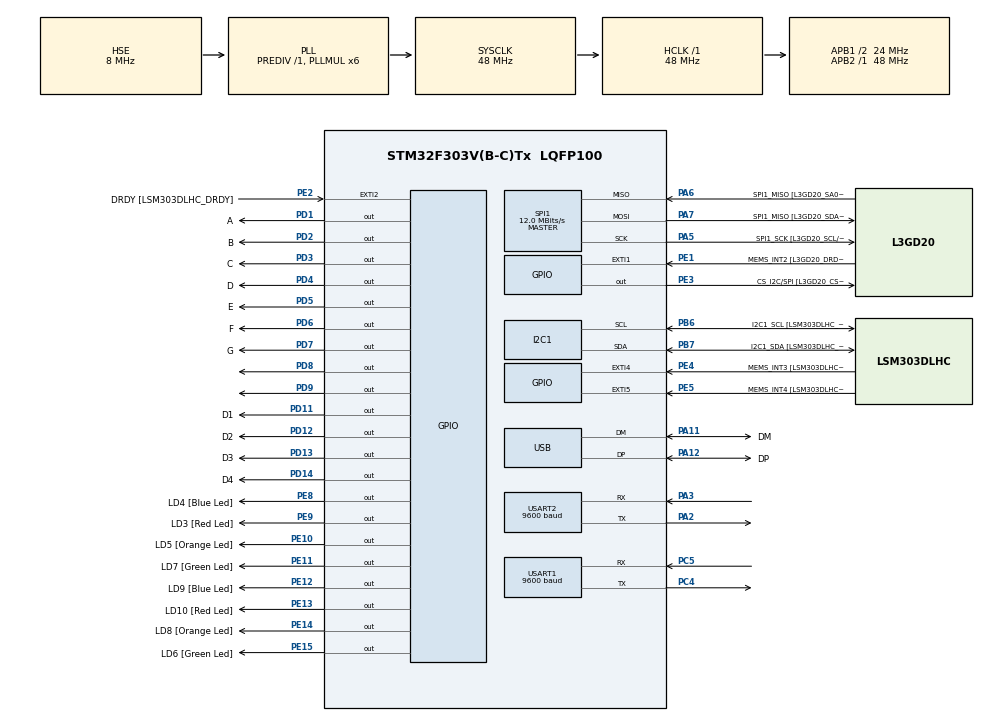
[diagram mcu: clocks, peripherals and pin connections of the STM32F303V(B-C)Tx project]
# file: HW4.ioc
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I2C1.Timing-I2C=0x2000090E
Mcu.Family=STM32F3
Mcu.Name=STM32F303V(B-C)Tx
Mcu.Package=LQFP100
NVIC.PriorityGroup=NVIC_PRIORITYGROUP_0
NVIC.TIM2_IRQn=true\:0\:0\:false\:false\:true\:true\:true\:true
NVIC.TIM3_IRQn=true\:0\:0\:false\:false\:true\:true\:true\:true
NVIC.USART1_IRQn=true\:0\:0\:false\:false\:true\:true\:true\:true
NVIC.USART2_IRQn=true\:0\:0\:false\:false\:true\:true\:true\:true
PA11.GPIO_Label=DM
PA11.Mode=Device
PA11.Signal=USB_DM
PA12.GPIO_Label=DP
PA12.Mode=Device
PA12.Signal=USB_DP
PA13.GPIO_Label=SWDIO
PA13.Mode=Serial_Wire
PA13.Signal=SYS_JTMS-SWDIO
PA14.GPIO_Label=SWCLK
PA14.Mode=Serial_Wire
PA14.Signal=SYS_JTCK-SWCLK
PA2.Mode=Asynchronous
PA2.Signal=USART2_TX
PA3.Mode=Asynchronous
PA3.Signal=USART2_RX
PA5.GPIO_Label=SPI1_SCK [L3GD20_SCL/SPC]
PA5.Mode=Full_Duplex_Master
PA5.Signal=SPI1_SCK
PA6.GPIO_Label=SPI1_MISO [L3GD20_SA0/SDO]
PA6.Mode=Full_Duplex_Master
PA6.Signal=SPI1_MISO
PA7.GPIO_Label=SPI1_MISO [L3GD20_SDA/SDI/SDO]
PA7.Mode=Full_Duplex_Master
PA7.Signal=SPI1_MOSI
PB3.GPIO_Label=SWO
PB3.Signal=SYS_JTDO-TRACESWO
PB6.GPIO_Label=I2C1_SCL [LSM303DLHC_SCL]
PB6.GPIO_Pu=GPIO_PULLUP
PB6.Mode=I2C
PB6.Signal=I2C1_SCL
PB7.GPIO_Label=I2C1_SDA [LSM303DLHC_SDA]
PB7.GPIO_Pu=GPIO_PULLUP
PB7.Mode=I2C
PB7.Signal=I2C1_SDA
PC14-OSC32_IN.GPIO_Label=OSC32_IN
PC14-OSC32_IN.Signal=RCC_OSC32_IN
PC15-OSC32_OUT.GPIO_Label=OSC32_OUT
PC15-OSC32_OUT.Signal=RCC_OSC32_OUT
PC4.Mode=Asynchronous
PC4.Signal=USART1_TX
PC5.Mode=Asynchronous
PC5.Signal=USART1_RX
PD1.GPIO_Label=A
PD1.Signal=GPIO_Output
PD11.GPIO_Label=D1
PD11.Signal=GPIO_Output
PD12.GPIO_Label=D2
PD12.Signal=GPIO_Output
PD13.GPIO_Label=D3
PD13.Signal=GPIO_Output
PD14.GPIO_Label=D4
PD14.Signal=GPIO_Output
PD2.GPIO_Label=B
PD2.Signal=GPIO_Output
PD3.GPIO_Label=C
PD3.Signal=GPIO_Output
PD4.GPIO_Label=D
PD4.Signal=GPIO_Output
PD5.GPIO_Label=E
PD5.Signal=GPIO_Output
PD6.GPIO_Label=F
PD6.Signal=GPIO_Output
PD7.GPIO_Label=G
PD7.Signal=GPIO_Output
PD8.Signal=GPIO_Output
PD9.Signal=GPIO_Output
PE1.GPIO_Label=MEMS_INT2 [L3GD20_DRDY/INT2]
PE1.GPIO_ModeDefaultEXTI=GPIO_MODE_EVT_RISING
PE1.Signal=GPXTI1
PE10.GPIO_Label=LD5 [Orange Led]
PE10.Signal=GPIO_Output
PE11.GPIO_Label=LD7 [Green Led]
PE11.Signal=GPIO_Output
PE12.GPIO_Label=LD9 [Blue Led]
PE12.Signal=GPIO_Output
PE13.GPIO_Label=LD10 [Red Led]
PE13.Signal=GPIO_Output
PE14.GPIO_Label=LD8 [Orange Led]
PE14.Signal=GPIO_Output
PE15.GPIO_Label=LD6 [Green Led]
PE15.Signal=GPIO_Output
PE2.GPIO_Label=DRDY [LSM303DLHC_DRDY]
PE2.GPIO_ModeDefaultEXTI=GPIO_MODE_EVT_RISING
PE2.Signal=GPXTI2
PE3.GPIO_Label=CS_I2C/SPI [L3GD20_CS_I2C/SPI]
PE3.Signal=GPIO_Output
PE4.GPIO_Label=MEMS_INT3 [LSM303DLHC_INT1]
PE4.GPIO_ModeDefaultEXTI=GPIO_MODE_EVT_RISING
PE4.Signal=GPXTI4
PE5.GPIO_Label=MEMS_INT4 [LSM303DLHC_INT2]
PE5.GPIO_ModeDefaultEXTI=GPIO_MODE_EVT_RISING
PE5.Signal=GPXTI5
PE8.GPIO_Label=LD4 [Blue Led]
PE8.Signal=GPIO_Output
PE9.GPIO_Label=LD3 [Red Led]
PE9.Signal=GPIO_Output
PF0-OSC_IN.GPIO_Label=OSC_IN
PF0-OSC_IN.Mode=HSE-External-Clock-Source
PF0-OSC_IN.Signal=RCC_OSC_IN
PF1-OSC_OUT.GPIO_Label=OSC_OUT
PF1-OSC_OUT.Signal=RCC_OSC_OUT
ProjectManager.HeapSize=0x200
ProjectManager.StackSize=0x400
ProjectManager.TargetToolchain=STM32CubeIDE
RCC.AHBFreq_Value=48000000
RCC.APB1CLKDivider=RCC_HCLK_DIV2
RCC.APB1Freq_Value=24000000
RCC.APB1TimFreq_Value=48000000
RCC.APB2Freq_Value=48000000
RCC.APB2TimFreq_Value=48000000
RCC.CortexFreq_Value=48000000
RCC.HCLKFreq_Value=48000000
RCC.HSE_VALUE=8000000
RCC.HSI_VALUE=8000000
RCC.LSE_VALUE=32768
RCC.PLLMUL=RCC_PLL_MUL6
RCC.SYSCLKFreq_VALUE=48000000
RCC.SYSCLKSourceVirtual=RCC_SYSCLKSOURCE_PLLCLK
RCC.USBFreq_Value=48000000
SPI1.BaudRatePrescaler=SPI_BAUDRATEPRESCALER_4
SPI1.BaudRatePrescaler-Full_Duplex_Master=SPI_BAUDRATEPRESCALER_2
SPI1.CalculateBaudRate=12.0 MBits/s
SPI1.CalculateBaudRate-Full_Duplex_Master=24.0 MBits/s
SPI1.Direction=SPI_DIRECTION_2LINES
SPI1.Mode=SPI_MODE_MASTER
SPI1.Mode-Full_Duplex_Master=SPI_MODE_MASTER
SPI1.VirtualType=VM_MASTER
TIM2.Period=10 - 1
TIM2.Prescaler=4800 - 1
TIM3.Period=10 - 1
TIM3.Prescaler=4800 - 1
USART1.BaudRate=9600
USART1.VirtualMode-Asynchronous=VM_ASYNC
USART2.BaudRate=9600
USART2.VirtualMode-Asynchronous=VM_ASYNC
VP_TIM2_VS_ClockSourceINT.Mode=Internal
VP_TIM3_VS_ClockSourceINT.Mode=Internal
board=STM32F3DISCOVERY

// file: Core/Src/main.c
/* USER CODE BEGIN Header */
/**
 ******************************************************************************
 * @file           : main.c
 * @brief          : Main program body
 ******************************************************************************
 * @attention
 *
 * Copyright (c) 2023 STMicroelectronics.
 * All rights reserved.
 *
 * This software is licensed under terms that can be found in the LICENSE file
 * in the root directory of this software component.
 * If no LICENSE file comes with this software, it is provided AS-IS.
 *
 ******************************************************************************
 */
/* USER CODE END Header */
#include "main.h"

I2C_HandleTypeDef hi2c1;

SPI_HandleTypeDef hspi1;

TIM_HandleTypeDef htim2;
TIM_HandleTypeDef htim3;

UART_HandleTypeDef huart1;
UART_HandleTypeDef huart2;

PCD_HandleTypeDef hpcd_USB_FS;

/* USER CODE BEGIN PV */
unsigned char sentence1[1000];
unsigned char sentence2[1000];
char unsigned str[1];
int num_s = 0;
int percent = 0;
int t_timer = 0;
int count1 = 0;
int count2 = 0;
int led_on = 0;
int steps = 0;
int deley = 0;
int pos = 0;
/* USER CODE END PV */

void SystemClock_Config(void);
static void MX_GPIO_Init(void);
static void MX_I2C1_Init(void);
static void MX_SPI1_Init(void);
static void MX_USB_PCD_Init(void);
static void MX_TIM3_Init(void);
static void MX_USART1_UART_Init(void);
static void MX_USART2_UART_Init(void);
static void MX_TIM2_Init(void);

int main(void)
{

  /* MCU Configuration--------------------------------------------------------*/

  /* Reset of all peripherals, Initializes the Flash interface and the Systick. */
  HAL_Init();

  /* Configure the system clock */
  SystemClock_Config();

  /* Initialize all configured peripherals */
  MX_GPIO_Init();
  MX_I2C1_Init();
  MX_SPI1_Init();
  MX_USB_PCD_Init();
  MX_TIM3_Init();
  MX_USART1_UART_Init();
  MX_USART2_UART_Init();
  MX_TIM2_Init();
  /* USER CODE BEGIN 2 */
	HAL_UART_Receive_IT(&huart2, str, 1);
	HAL_TIM_Base_Start_IT(&htim3);
	HAL_TIM_Base_Start_IT(&htim2);
	//HAL_GPIO_WritePin(GPIOE, GPIO_PIN_10, 1);
  /* USER CODE END 2 */

  /* Infinite loop */
	while (1)
	{

	}
}

void SystemClock_Config(void)
{
  RCC_OscInitTypeDef RCC_OscInitStruct = {0};
  RCC_ClkInitTypeDef RCC_ClkInitStruct = {0};
  RCC_PeriphCLKInitTypeDef PeriphClkInit = {0};

  /** Initializes the RCC Oscillators according to the specified parameters
  * in the RCC_OscInitTypeDef structure.
  */
  RCC_OscInitStruct.OscillatorType = RCC_OSCILLATORTYPE_HSI|RCC_OSCILLATORTYPE_HSE;
  RCC_OscInitStruct.HSEState = RCC_HSE_BYPASS;
  RCC_OscInitStruct.HSEPredivValue = RCC_HSE_PREDIV_DIV1;
  RCC_OscInitStruct.HSIState = RCC_HSI_ON;
  RCC_OscInitStruct.HSICalibrationValue = RCC_HSICALIBRATION_DEFAULT;
  RCC_OscInitStruct.PLL.PLLState = RCC_PLL_ON;
  RCC_OscInitStruct.PLL.PLLSource = RCC_PLLSOURCE_HSE;
  RCC_OscInitStruct.PLL.PLLMUL = RCC_PLL_MUL6;
  if (HAL_RCC_OscConfig(&RCC_OscInitStruct) != HAL_OK)
  {
    Error_Handler();
  }

  /** Initializes the CPU, AHB and APB buses clocks
  */
  RCC_ClkInitStruct.ClockType = RCC_CLOCKTYPE_HCLK|RCC_CLOCKTYPE_SYSCLK
                              |RCC_CLOCKTYPE_PCLK1|RCC_CLOCKTYPE_PCLK2;
  RCC_ClkInitStruct.SYSCLKSource = RCC_SYSCLKSOURCE_PLLCLK;
  RCC_ClkInitStruct.AHBCLKDivider = RCC_SYSCLK_DIV1;
  RCC_ClkInitStruct.APB1CLKDivider = RCC_HCLK_DIV2;
  RCC_ClkInitStruct.APB2CLKDivider = RCC_HCLK_DIV1;

  if (HAL_RCC_ClockConfig(&RCC_ClkInitStruct, FLASH_LATENCY_1) != HAL_OK)
  {
    Error_Handler();
  }
  PeriphClkInit.PeriphClockSelection = RCC_PERIPHCLK_USB|RCC_PERIPHCLK_USART1
                              |RCC_PERIPHCLK_USART2|RCC_PERIPHCLK_I2C1;
  PeriphClkInit.Usart1ClockSelection = RCC_USART1CLKSOURCE_PCLK2;
  PeriphClkInit.Usart2ClockSelection = RCC_USART2CLKSOURCE_PCLK1;
  PeriphClkInit.I2c1ClockSelection = RCC_I2C1CLKSOURCE_HSI;
  PeriphClkInit.USBClockSelection = RCC_USBCLKSOURCE_PLL;
  if (HAL_RCCEx_PeriphCLKConfig(&PeriphClkInit) != HAL_OK)
  {
    Error_Handler();
  }
}

static void MX_I2C1_Init(void)
{

  hi2c1.Instance = I2C1;
  hi2c1.Init.Timing = 0x2000090E;
  hi2c1.Init.OwnAddress1 = 0;
  hi2c1.Init.AddressingMode = I2C_ADDRESSINGMODE_7BIT;
  hi2c1.Init.DualAddressMode = I2C_DUALADDRESS_DISABLE;
  hi2c1.Init.OwnAddress2 = 0;
  hi2c1.Init.OwnAddress2Masks = I2C_OA2_NOMASK;
  hi2c1.Init.GeneralCallMode = I2C_GENERALCALL_DISABLE;
  hi2c1.Init.NoStretchMode = I2C_NOSTRETCH_DISABLE;
  if (HAL_I2C_Init(&hi2c1) != HAL_OK)
  {
    Error_Handler();
  }

  /** Configure Analogue filter
  */
  if (HAL_I2CEx_ConfigAnalogFilter(&hi2c1, I2C_ANALOGFILTER_ENABLE) != HAL_OK)
  {
    Error_Handler();
  }

  /** Configure Digital filter
  */
  if (HAL_I2CEx_ConfigDigitalFilter(&hi2c1, 0) != HAL_OK)
  {
    Error_Handler();
  }

}

static void MX_SPI1_Init(void)
{

  /* SPI1 parameter configuration*/
  hspi1.Instance = SPI1;
  hspi1.Init.Mode = SPI_MODE_MASTER;
  hspi1.Init.Direction = SPI_DIRECTION_2LINES;
  hspi1.Init.DataSize = SPI_DATASIZE_4BIT;
  hspi1.Init.CLKPolarity = SPI_POLARITY_LOW;
  hspi1.Init.CLKPhase = SPI_PHASE_1EDGE;
  hspi1.Init.NSS = SPI_NSS_SOFT;
  hspi1.Init.BaudRatePrescaler = SPI_BAUDRATEPRESCALER_4;
  hspi1.Init.FirstBit = SPI_FIRSTBIT_MSB;
  hspi1.Init.TIMode = SPI_TIMODE_DISABLE;
  hspi1.Init.CRCCalculation = SPI_CRCCALCULATION_DISABLE;
  hspi1.Init.CRCPolynomial = 7;
  hspi1.Init.CRCLength = SPI_CRC_LENGTH_DATASIZE;
  hspi1.Init.NSSPMode = SPI_NSS_PULSE_ENABLE;
  if (HAL_SPI_Init(&hspi1) != HAL_OK)
  {
    Error_Handler();
  }

}

static void MX_TIM2_Init(void)
{

  TIM_ClockConfigTypeDef sClockSourceConfig = {0};
  TIM_MasterConfigTypeDef sMasterConfig = {0};

  htim2.Instance = TIM2;
  htim2.Init.Prescaler = 4800 - 1;
  htim2.Init.CounterMode = TIM_COUNTERMODE_UP;
  htim2.Init.Period = 10 - 1;
  htim2.Init.ClockDivision = TIM_CLOCKDIVISION_DIV1;
  htim2.Init.AutoReloadPreload = TIM_AUTORELOAD_PRELOAD_DISABLE;
  if (HAL_TIM_Base_Init(&htim2) != HAL_OK)
  {
    Error_Handler();
  }
  sClockSourceConfig.ClockSource = TIM_CLOCKSOURCE_INTERNAL;
  if (HAL_TIM_ConfigClockSource(&htim2, &sClockSourceConfig) != HAL_OK)
  {
    Error_Handler();
  }
  sMasterConfig.MasterOutputTrigger = TIM_TRGO_RESET;
  sMasterConfig.MasterSlaveMode = TIM_MASTERSLAVEMODE_DISABLE;
  if (HAL_TIMEx_MasterConfigSynchronization(&htim2, &sMasterConfig) != HAL_OK)
  {
    Error_Handler();
  }

}

static void MX_TIM3_Init(void)
{

  TIM_ClockConfigTypeDef sClockSourceConfig = {0};
  TIM_MasterConfigTypeDef sMasterConfig = {0};

  htim3.Instance = TIM3;
  htim3.Init.Prescaler = 4800 - 1;
  htim3.Init.CounterMode = TIM_COUNTERMODE_UP;
  htim3.Init.Period = 10 - 1;
  htim3.Init.ClockDivision = TIM_CLOCKDIVISION_DIV1;
  htim3.Init.AutoReloadPreload = TIM_AUTORELOAD_PRELOAD_DISABLE;
  if (HAL_TIM_Base_Init(&htim3) != HAL_OK)
  {
    Error_Handler();
  }
  sClockSourceConfig.ClockSource = TIM_CLOCKSOURCE_INTERNAL;
  if (HAL_TIM_ConfigClockSource(&htim3, &sClockSourceConfig) != HAL_OK)
  {
    Error_Handler();
  }
  sMasterConfig.MasterOutputTrigger = TIM_TRGO_RESET;
  sMasterConfig.MasterSlaveMode = TIM_MASTERSLAVEMODE_DISABLE;
  if (HAL_TIMEx_MasterConfigSynchronization(&htim3, &sMasterConfig) != HAL_OK)
  {
    Error_Handler();
  }

}

static void MX_USART1_UART_Init(void)
{

  huart1.Instance = USART1;
  huart1.Init.BaudRate = 9600;
  huart1.Init.WordLength = UART_WORDLENGTH_8B;
  huart1.Init.StopBits = UART_STOPBITS_1;
  huart1.Init.Parity = UART_PARITY_NONE;
  huart1.Init.Mode = UART_MODE_TX_RX;
  huart1.Init.HwFlowCtl = UART_HWCONTROL_NONE;
  huart1.Init.OverSampling = UART_OVERSAMPLING_16;
  huart1.Init.OneBitSampling = UART_ONE_BIT_SAMPLE_DISABLE;
  huart1.AdvancedInit.AdvFeatureInit = UART_ADVFEATURE_NO_INIT;
  if (HAL_UART_Init(&huart1) != HAL_OK)
  {
    Error_Handler();
  }

}

static void MX_USART2_UART_Init(void)
{

  huart2.Instance = USART2;
  huart2.Init.BaudRate = 9600;
  huart2.Init.WordLength = UART_WORDLENGTH_8B;
  huart2.Init.StopBits = UART_STOPBITS_1;
  huart2.Init.Parity = UART_PARITY_NONE;
  huart2.Init.Mode = UART_MODE_TX_RX;
  huart2.Init.HwFlowCtl = UART_HWCONTROL_NONE;
  huart2.Init.OverSampling = UART_OVERSAMPLING_16;
  huart2.Init.OneBitSampling = UART_ONE_BIT_SAMPLE_DISABLE;
  huart2.AdvancedInit.AdvFeatureInit = UART_ADVFEATURE_NO_INIT;
  if (HAL_UART_Init(&huart2) != HAL_OK)
  {
    Error_Handler();
  }

}

static void MX_USB_PCD_Init(void)
{

  hpcd_USB_FS.Instance = USB;
  hpcd_USB_FS.Init.dev_endpoints = 8;
  hpcd_USB_FS.Init.speed = PCD_SPEED_FULL;
  hpcd_USB_FS.Init.phy_itface = PCD_PHY_EMBEDDED;
  hpcd_USB_FS.Init.low_power_enable = DISABLE;
  hpcd_USB_FS.Init.battery_charging_enable = DISABLE;
  if (HAL_PCD_Init(&hpcd_USB_FS) != HAL_OK)
  {
    Error_Handler();
  }

}

static void MX_GPIO_Init(void)
{
  GPIO_InitTypeDef GPIO_InitStruct = {0};

  /* GPIO Ports Clock Enable */
  __HAL_RCC_GPIOE_CLK_ENABLE();
  __HAL_RCC_GPIOC_CLK_ENABLE();
  __HAL_RCC_GPIOF_CLK_ENABLE();
  __HAL_RCC_GPIOA_CLK_ENABLE();
  __HAL_RCC_GPIOD_CLK_ENABLE();
  __HAL_RCC_GPIOB_CLK_ENABLE();

  /*Configure GPIO pin Output Level */
  HAL_GPIO_WritePin(GPIOE, CS_I2C_SPI_Pin|LD4_Pin|LD3_Pin|LD5_Pin
                          |LD7_Pin|LD9_Pin|LD10_Pin|LD8_Pin
                          |LD6_Pin, GPIO_PIN_RESET);

  /*Configure GPIO pin Output Level */
  HAL_GPIO_WritePin(GPIOD, GPIO_PIN_8|GPIO_PIN_9|D1_Pin|D2_Pin
                          |D3_Pin|D4_Pin|A_Pin|B_Pin
                          |C_Pin|D_Pin|E_Pin|F_Pin
                          |G_Pin, GPIO_PIN_RESET);

  /*Configure GPIO pins : DRDY_Pin MEMS_INT3_Pin MEMS_INT4_Pin MEMS_INT2_Pin */
  GPIO_InitStruct.Pin = DRDY_Pin|MEMS_INT3_Pin|MEMS_INT4_Pin|MEMS_INT2_Pin;
  GPIO_InitStruct.Mode = GPIO_MODE_EVT_RISING;
  GPIO_InitStruct.Pull = GPIO_NOPULL;
  HAL_GPIO_Init(GPIOE, &GPIO_InitStruct);

  /*Configure GPIO pins : CS_I2C_SPI_Pin LD4_Pin LD3_Pin LD5_Pin
                           LD7_Pin LD9_Pin LD10_Pin LD8_Pin
                           LD6_Pin */
  GPIO_InitStruct.Pin = CS_I2C_SPI_Pin|LD4_Pin|LD3_Pin|LD5_Pin
                          |LD7_Pin|LD9_Pin|LD10_Pin|LD8_Pin
                          |LD6_Pin;
  GPIO_InitStruct.Mode = GPIO_MODE_OUTPUT_PP;
  GPIO_InitStruct.Pull = GPIO_NOPULL;
  GPIO_InitStruct.Speed = GPIO_SPEED_FREQ_LOW;
  HAL_GPIO_Init(GPIOE, &GPIO_InitStruct);

  /*Configure GPIO pins : PD8 PD9 D1_Pin D2_Pin
                           D3_Pin D4_Pin A_Pin B_Pin
                           C_Pin D_Pin E_Pin F_Pin
                           G_Pin */
  GPIO_InitStruct.Pin = GPIO_PIN_8|GPIO_PIN_9|D1_Pin|D2_Pin
                          |D3_Pin|D4_Pin|A_Pin|B_Pin
                          |C_Pin|D_Pin|E_Pin|F_Pin
                          |G_Pin;
  GPIO_InitStruct.Mode = GPIO_MODE_OUTPUT_PP;
  GPIO_InitStruct.Pull = GPIO_NOPULL;
  GPIO_InitStruct.Speed = GPIO_SPEED_FREQ_LOW;
  HAL_GPIO_Init(GPIOD, &GPIO_InitStruct);

}

/* USER CODE BEGIN 4 */
void HAL_UART_RxCpltCallback(UART_HandleTypeDef *huart)
{
	if (huart->Instance == USART2)
	{
		if(str[0] == '\0')
		{
			pos = 0;
			if(num_s == 0)
			{
				num_s = 1;
			}else if(num_s == 1)
			{
				percent = calculate_similarity(sentence1,sentence2) ;
				if(percent < 60)
				{
					percent = 0;
					HAL_GPIO_WritePin(GPIOD, GPIO_PIN_8, 1);
				}
				//			sprintf(str, "%d", percent);
				//			HAL_UART_Transmit_IT(&huart1, str, strlen(str) * sizeof(char));
				num_s = 2;
			}
		}else
		{
			if(num_s == 0)
			{
				sentence1[pos] = str[0];
				sentence1[pos + 1] = '\0';
			}
			if(num_s == 1)
			{
				sentence2[pos] = str[0];
				sentence2[pos + 1] = '\0';
			}
			pos++;
		}
		HAL_UART_Receive_IT(&huart2, str,1);
	}
}
void num_to_seven(int i)
{
	int x1 = i & 1;
	int x2 = i & 2;
	int x3 = i & 4;
	int x4 = i & 8;
	if (x1 > 0) x1 = 1;
	if (x2 > 0) x2 = 1;
	if (x3 > 0) x3 = 1;
	if (x4 > 0) x4 = 1;
	HAL_GPIO_WritePin(GPIOD, A_Pin, x1);
	HAL_GPIO_WritePin(GPIOD, B_Pin, x2);
	HAL_GPIO_WritePin(GPIOD, C_Pin, x3);
	HAL_GPIO_WritePin(GPIOD, D_Pin, x4);
}

void HAL_TIM_PeriodElapsedCallback(TIM_HandleTypeDef *htim)
{
	if (htim->Instance == TIM2)
	{
		if (num_s == 2)
		{
			if(count1 != 0)
			{
				count1--;
				HAL_GPIO_TogglePin(GPIOD, GPIO_PIN_9);
				steps = 0;
			}else if(count2 != 0)
			{
				if (steps > 10)
				{
					count2--;
					HAL_GPIO_TogglePin(GPIOD, GPIO_PIN_9);
				}
				steps++;
			}else
			{
				if (deley == 4)
				{
					num_s = 0;
					deley = 0;
				}
				else
				{
					HAL_GPIO_WritePin(GPIOD, GPIO_PIN_8,1);
					deley++;
				}
			}
		}
		if(num_s == 0 || num_s == 1)
		{
			HAL_GPIO_TogglePin(GPIOD, GPIO_PIN_8);
		}
	}
	if (htim->Instance == TIM3)
	{

		int ones = percent % 10;
		int tens = (percent / 10) % 10;
		int houndred = percent / 100;
		if(t_timer % 3 == 0)
		{

			num_to_seven(ones);
			HAL_GPIO_WritePin(GPIOD, D1_Pin, 1);
			HAL_GPIO_WritePin(GPIOD, D2_Pin, 1);
			HAL_GPIO_WritePin(GPIOD, D3_Pin, 0);
			HAL_GPIO_WritePin(GPIOD, D4_Pin, 1);

		}else if(t_timer % 3 == 1)
		{

			num_to_seven(tens);
			HAL_GPIO_WritePin(GPIOD, D1_Pin, 1);
			HAL_GPIO_WritePin(GPIOD, D2_Pin, 0);
			HAL_GPIO_WritePin(GPIOD, D3_Pin, 1);
			HAL_GPIO_WritePin(GPIOD, D4_Pin, 1);

		}else if(t_timer % 3 == 2)
		{

			num_to_seven(houndred);
			HAL_GPIO_WritePin(GPIOD, D1_Pin, 0);
			HAL_GPIO_WritePin(GPIOD, D2_Pin, 1);
			HAL_GPIO_WritePin(GPIOD, D3_Pin, 1);
			HAL_GPIO_WritePin(GPIOD, D4_Pin, 1);

		}
		t_timer++;
	}
}

int calculate_similarity(char sentence1[], char sentence2[])
{
	int i,j;
	int len1 = strlen(sentence1);
	int len2 = strlen(sentence2);
	count1 = 0;
	count2 = 0;

	// Count the number of words in sentence1
	for (i = 0; i < len1; i++)
	{
		if (sentence1[i] == ' ')
			count1++;
	}
	count1++; // Increment for the last word

	// Count the number of words in sentence2
	for (i = 0; i < len2; i++)
	{
		if (sentence2[i] == ' ')
			count2++;
	}
	count2++; // Increment for the last word
	char word1[100];
	char word2[100];
	int k = 0;
	int l = 0;
	int commonWords = 0;
	for (size_t i = 0; i <= len1 ; i++)
	{
		if (sentence1[i] == ' ' || sentence1[i] == '\0')
		{
			word1[k] = '\0';
			k = 0;
			l = 0;
			for (size_t j = 0; j <= len2; j++)
			{
				if (sentence2[j] == ' ' || sentence2[j] == '\0')
				{
					word2[l] = '\0';
					l = 0;
					if (strcmp(word1, word2) == 0)
					{
						commonWords++;
					}
				}
				else
				{
					word2[l] = sentence2[j];
					l++;
				}
			}
		}
		else
		{
			word1[k] = sentence1[i];
			k++;
		}
	}
	double similarity = (double)commonWords / (count1);
	count1 *= 2;
	count2 *= 2;
	return similarity * 100;
}
/* USER CODE END 4 */

void Error_Handler(void)
{
	__disable_irq();
	while (1)
	{
	}
}
